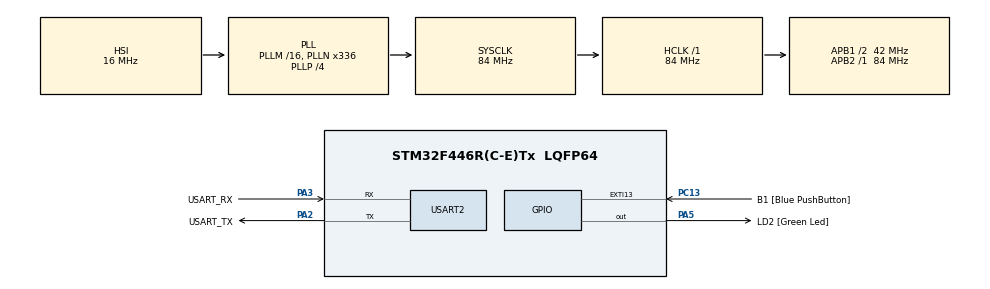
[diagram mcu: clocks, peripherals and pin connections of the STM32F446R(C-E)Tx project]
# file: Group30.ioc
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FREERTOS.Tasks01=defaultTask,0,128,StartDefaultTask,Default,NULL,Dynamic,NULL,NULL
Mcu.Family=STM32F4
Mcu.Name=STM32F446R(C-E)Tx
Mcu.Package=LQFP64
NVIC.EXTI15_10_IRQn=true\:5\:0\:false\:false\:true\:true\:true\:true\:true
NVIC.PriorityGroup=NVIC_PRIORITYGROUP_4
NVIC.TIM1_UP_TIM10_IRQn=true\:15\:0\:false\:false\:true\:false\:false\:true\:true
NVIC.TimeBase=TIM1_UP_TIM10_IRQn
NVIC.TimeBaseIP=TIM1
PA13.GPIO_Label=TMS
PA13.Mode=Serial_Wire
PA13.Signal=SYS_JTMS-SWDIO
PA14.GPIO_Label=TCK
PA14.Mode=Serial_Wire
PA14.Signal=SYS_JTCK-SWCLK
PA2.GPIO_Label=USART_TX
PA2.Mode=Asynchronous
PA2.Signal=USART2_TX
PA3.GPIO_Label=USART_RX
PA3.Mode=Asynchronous
PA3.Signal=USART2_RX
PA5.GPIO_Label=LD2 [Green Led]
PA5.Signal=GPIO_Output
PB3.GPIO_Label=SWO
PB3.Signal=SYS_JTDO-SWO
PC13.GPIO_Label=B1 [Blue PushButton]
PC13.GPIO_ModeDefaultEXTI=GPIO_MODE_IT_RISING
PC13.Signal=GPXTI13
PC14-OSC32_IN.Mode=LSE-External-Oscillator
PC14-OSC32_IN.Signal=RCC_OSC32_IN
PC15-OSC32_OUT.Mode=LSE-External-Oscillator
PC15-OSC32_OUT.Signal=RCC_OSC32_OUT
PH0-OSC_IN.Mode=HSE-External-Oscillator
PH0-OSC_IN.Signal=RCC_OSC_IN
PH1-OSC_OUT.Mode=HSE-External-Oscillator
PH1-OSC_OUT.Signal=RCC_OSC_OUT
ProjectManager.HeapSize=0x200
ProjectManager.StackSize=0x400
ProjectManager.TargetToolchain=STM32CubeIDE
RCC.48MHZClocksFreq_Value=84000000
RCC.AHBFreq_Value=84000000
RCC.APB1CLKDivider=RCC_HCLK_DIV2
RCC.APB1Freq_Value=42000000
RCC.APB1TimFreq_Value=84000000
RCC.APB2Freq_Value=84000000
RCC.APB2TimFreq_Value=84000000
RCC.CortexFreq_Value=84000000
RCC.FLatency-AdvancedSettings=FLASH_LATENCY_2
RCC.HCLKFreq_Value=84000000
RCC.HSE_VALUE=8000000
RCC.HSI_VALUE=16000000
RCC.PLLN=336
RCC.PLLP=RCC_PLLP_DIV4
RCC.SYSCLKFreq_VALUE=84000000
RCC.SYSCLKSource=RCC_SYSCLKSOURCE_PLLCLK
RCC.USBFreq_Value=168000000
RCC.VCOOutputFreq_Value=336000000
USART2.VirtualMode=VM_ASYNC
VP_FREERTOS_VS_CMSIS_V1.Mode=CMSIS_V1
VP_SYS_VS_tim1.Mode=TIM1
board=NUCLEO-F446RE

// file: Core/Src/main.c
/* USER CODE BEGIN Header */
/**
  ******************************************************************************
  * @file           : main.c
  * @brief          : Main program body
  ******************************************************************************
  * @attention
  *
  * Copyright (c) 2024 STMicroelectronics.
  * All rights reserved.
  *
  * This software is licensed under terms that can be found in the LICENSE file
  * in the root directory of this software component.
  * If no LICENSE file comes with this software, it is provided AS-IS.
  *
  ******************************************************************************
  */
/* USER CODE END Header */
#include "main.h"
#include "cmsis_os.h"

/* USER CODE BEGIN PD */
// Execution time from both tasks is defined as 500 ticks
#define ET 2000
#define PERIOD_TASK_1 5000
#define PERIOD_TASK_2 8000
#define BLINK_DURATION_2 100
/* USER CODE END PD */

UART_HandleTypeDef huart2;

void SystemClock_Config(void);
static void MX_GPIO_Init(void);
static void MX_USART2_UART_Init(void);
void Task1 (void *);
void Task2 (void *);
void AperiodicLed(void *);

extern TaskHandle_t Aperiodic1;

int main(void)
{

  /* MCU Configuration--------------------------------------------------------*/

  /* Reset of all peripherals, Initializes the Flash interface and the Systick. */
  HAL_Init();

  /* Configure the system clock */
  SystemClock_Config();

  /* Initialize all configured peripherals */
  MX_GPIO_Init();
  MX_USART2_UART_Init();

  /* USER CODE BEGIN RTOS_THREADS */
  /* add threads, ... */
  xTaskCreatePeriodic(Task1, "Task1", configMINIMAL_STACK_SIZE, NULL , PERIOD_TASK_1, NULL);
  xTaskCreatePeriodic(Task2, "Task2", configMINIMAL_STACK_SIZE, NULL , PERIOD_TASK_2, NULL);
  xTaskCreateAperiodic(AperiodicLed, "Aperiodic Led", configMINIMAL_STACK_SIZE, NULL , 2024, &Aperiodic1);
  /* USER CODE END RTOS_THREADS */

  /* Start scheduler */
  Start_TBS(0.2);
  vTaskStartScheduler();

  /* We should never get here as control is now taken by the scheduler */
  /* Infinite loop */
  while (1)
  {

  }
}

void SystemClock_Config(void)
{
  RCC_OscInitTypeDef RCC_OscInitStruct = {0};
  RCC_ClkInitTypeDef RCC_ClkInitStruct = {0};

  /** Configure the main internal regulator output voltage
  */
  __HAL_RCC_PWR_CLK_ENABLE();
  __HAL_PWR_VOLTAGESCALING_CONFIG(PWR_REGULATOR_VOLTAGE_SCALE3);

  /** Initializes the RCC Oscillators according to the specified parameters
  * in the RCC_OscInitTypeDef structure.
  */
  RCC_OscInitStruct.OscillatorType = RCC_OSCILLATORTYPE_HSI;
  RCC_OscInitStruct.HSIState = RCC_HSI_ON;
  RCC_OscInitStruct.HSICalibrationValue = RCC_HSICALIBRATION_DEFAULT;
  RCC_OscInitStruct.PLL.PLLState = RCC_PLL_ON;
  RCC_OscInitStruct.PLL.PLLSource = RCC_PLLSOURCE_HSI;
  RCC_OscInitStruct.PLL.PLLM = 16;
  RCC_OscInitStruct.PLL.PLLN = 336;
  RCC_OscInitStruct.PLL.PLLP = RCC_PLLP_DIV4;
  RCC_OscInitStruct.PLL.PLLQ = 2;
  RCC_OscInitStruct.PLL.PLLR = 2;
  if (HAL_RCC_OscConfig(&RCC_OscInitStruct) != HAL_OK)
  {
    Error_Handler();
  }

  /** Initializes the CPU, AHB and APB buses clocks
  */
  RCC_ClkInitStruct.ClockType = RCC_CLOCKTYPE_HCLK|RCC_CLOCKTYPE_SYSCLK
                              |RCC_CLOCKTYPE_PCLK1|RCC_CLOCKTYPE_PCLK2;
  RCC_ClkInitStruct.SYSCLKSource = RCC_SYSCLKSOURCE_PLLCLK;
  RCC_ClkInitStruct.AHBCLKDivider = RCC_SYSCLK_DIV1;
  RCC_ClkInitStruct.APB1CLKDivider = RCC_HCLK_DIV2;
  RCC_ClkInitStruct.APB2CLKDivider = RCC_HCLK_DIV1;

  if (HAL_RCC_ClockConfig(&RCC_ClkInitStruct, FLASH_LATENCY_2) != HAL_OK)
  {
    Error_Handler();
  }
}

static void MX_USART2_UART_Init(void)
{

  huart2.Instance = USART2;
  huart2.Init.BaudRate = 115200;
  huart2.Init.WordLength = UART_WORDLENGTH_8B;
  huart2.Init.StopBits = UART_STOPBITS_1;
  huart2.Init.Parity = UART_PARITY_NONE;
  huart2.Init.Mode = UART_MODE_TX_RX;
  huart2.Init.HwFlowCtl = UART_HWCONTROL_NONE;
  huart2.Init.OverSampling = UART_OVERSAMPLING_16;
  if (HAL_UART_Init(&huart2) != HAL_OK)
  {
    Error_Handler();
  }

}

static void MX_GPIO_Init(void)
{
  GPIO_InitTypeDef GPIO_InitStruct = {0};

  /* GPIO Ports Clock Enable */
  __HAL_RCC_GPIOC_CLK_ENABLE();
  __HAL_RCC_GPIOH_CLK_ENABLE();
  __HAL_RCC_GPIOA_CLK_ENABLE();
  __HAL_RCC_GPIOB_CLK_ENABLE();

  /*Configure GPIO pin Output Level */
  HAL_GPIO_WritePin(LD2_GPIO_Port, LD2_Pin, GPIO_PIN_RESET);

  /*Configure GPIO pin : B1_Pin */
  GPIO_InitStruct.Pin = B1_Pin;
  GPIO_InitStruct.Mode = GPIO_MODE_IT_RISING;
  GPIO_InitStruct.Pull = GPIO_NOPULL;
  HAL_GPIO_Init(B1_GPIO_Port, &GPIO_InitStruct);

  /*Configure GPIO pin : LD2_Pin */
  GPIO_InitStruct.Pin = LD2_Pin;
  GPIO_InitStruct.Mode = GPIO_MODE_OUTPUT_PP;
  GPIO_InitStruct.Pull = GPIO_NOPULL;
  GPIO_InitStruct.Speed = GPIO_SPEED_FREQ_LOW;
  HAL_GPIO_Init(LD2_GPIO_Port, &GPIO_InitStruct);

/* USER CODE BEGIN MX_GPIO_Init_2 */
  //enable button interrupt
  HAL_NVIC_SetPriority(EXTI15_10_IRQn, 5, 0);
  HAL_NVIC_EnableIRQ(EXTI15_10_IRQn);
/* USER CODE END MX_GPIO_Init_2 */
}

/* USER CODE BEGIN 4 */

void Task1( void *)
{
	TickType_t StartTickTime = 0;
	TickType_t ExecutionTime;
	TickType_t PreviousTick;

	while (1)
	{
		//Initialize  time
		PreviousTick = xTaskGetTickCount();
		//Led is ON for the entire execution time
		HAL_GPIO_WritePin(LD2_GPIO_Port, LD2_Pin, GPIO_PIN_SET);

		ExecutionTime = 0;
		//Busy wait for the entire ET
		while (ExecutionTime < ET)
		{
			if(xTaskGetTickCount() != PreviousTick){
				PreviousTick = xTaskGetTickCount();
				ExecutionTime++;
			}
		}

		//Led OFF
		HAL_GPIO_WritePin(LD2_GPIO_Port, LD2_Pin, GPIO_PIN_RESET);

		//When done, task suspends until next deadline
		vTaskPeriodicWaitDeadline(&StartTickTime);
	}
}

/* USER CODE END 4 */

/* USER CODE BEGIN 5 */

void Task2( void *)
{
	TickType_t StartTickTime = 0;
	TickType_t ExecutionTime;
	TickType_t PreviousTick;
	TickType_t BlinkTime;

	while (1) {
		//Initialize execution time
		ExecutionTime = 0;

		//Led blinks for the entire execution time
		while (ExecutionTime < ET)
		{
			PreviousTick = xTaskGetTickCount();

			HAL_GPIO_WritePin(LD2_GPIO_Port, LD2_Pin, GPIO_PIN_SET);

			//Busy wait for the entire LED ON time, increase ExecutionTime
			BlinkTime = 0;
			while (BlinkTime < BLINK_DURATION_2)
			{
				if(xTaskGetTickCount() != PreviousTick)
					{
						PreviousTick = xTaskGetTickCount();
						ExecutionTime++;
						BlinkTime++;
					}
			}
			HAL_GPIO_WritePin(LD2_GPIO_Port, LD2_Pin, GPIO_PIN_RESET);

			//Busy wait for the entire LED ON time, increase ExecutionTime
			BlinkTime = 0;
			while (BlinkTime < BLINK_DURATION_2)
			{
				if(xTaskGetTickCount() != PreviousTick)
					{
						PreviousTick = xTaskGetTickCount();
						ExecutionTime++;
						BlinkTime++;
					}
			}
		}

		//When done, task suspends until next deadline
		vTaskPeriodicWaitDeadline(&StartTickTime);

	}
}

void AperiodicLed(void *)
{
	while( 1 )
	{
		uint32_t LedONTime = 0, PreviousTick = xTaskGetTickCount();
					while (LedONTime < 2000)
					{
						if(xTaskGetTickCount() != PreviousTick)
							{
								PreviousTick = xTaskGetTickCount();
								LedONTime++;
							}
					}
		HAL_GPIO_WritePin(LD2_GPIO_Port, LD2_Pin, GPIO_PIN_SET);
		vTaskSuspend(NULL);
	}
}

/* USER CODE END 5 */

void HAL_TIM_PeriodElapsedCallback(TIM_HandleTypeDef *htim)
{
  if (htim->Instance == TIM1) {
    HAL_IncTick();
  }
}

void Error_Handler(void)
{
  __disable_irq();
  while (1)
  {
  }
}
